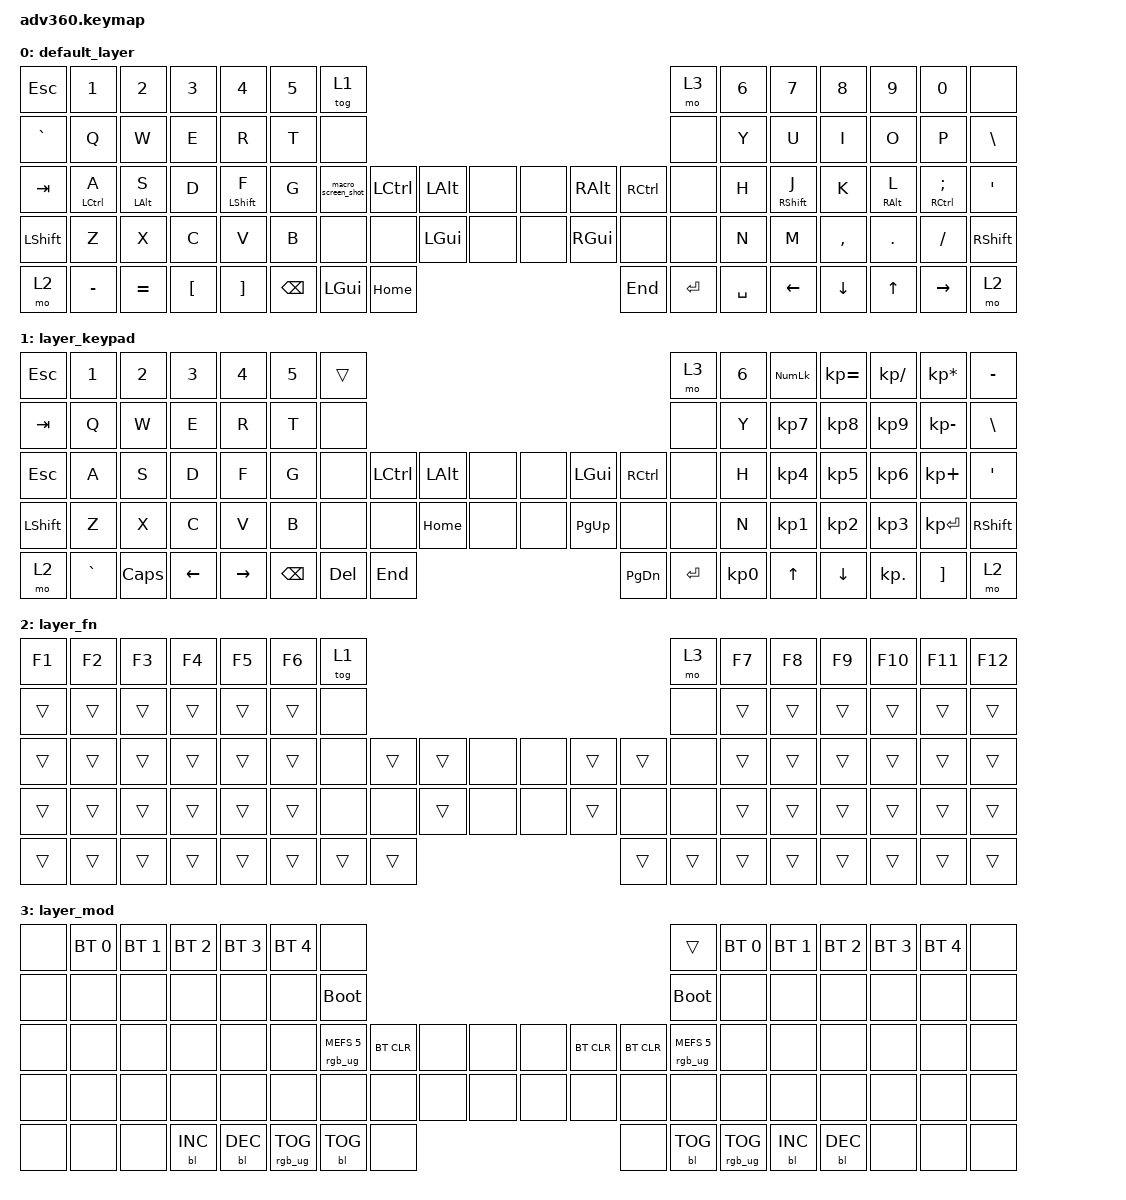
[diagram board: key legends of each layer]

/*
 * Copyright (c) 2020 The ZMK Contributors
 *
 * SPDX-License-Identifier: MIT
 */


/* THIS FILE WAS GENERATED!
 *
 * This file was generated automatically. You may or may not want to
 * edit it directly.
 */

#include <behaviors.dtsi>
#include <dt-bindings/zmk/keys.h>
#include <dt-bindings/zmk/bt.h>
#include <dt-bindings/zmk/rgb.h>
#include <dt-bindings/zmk/backlight.h>

/ {
  behaviors {
    #include "macros.dtsi"

    bhm: homerow_mods {
        compatible = "zmk,behavior-hold-tap";
        label = "HOMEROW_MODS";
        #binding-cells = <2>;
        tapping-term-ms = <150>;
        flavor = "balanced";
        bindings = <&kp>, <&kp>;
    };
    ahm: a_homerow_mods {
        compatible = "zmk,behavior-hold-tap";
        label = "A_HOMEROW_MODS";
        #binding-cells = <2>;
        tapping-term-ms = <200>;
        flavor = "balanced";
        bindings = <&kp>, <&kp>;
    };
  };

    keymap {
        compatible = "zmk,keymap";


        default_layer {
            bindings = <
 &kp ESC     &kp N1          &kp N2       &kp N3       &kp N4          &kp N5     &tog 1                                                                                                                  &mo 3         &kp N6    &kp N7         &kp N8     &kp N9         &kp N0             &none
 &kp GRAVE   &kp Q           &kp W        &kp E        &kp R           &kp T      &none                                                                                                                   &none         &kp Y     &kp U          &kp I      &kp O          &kp P              &kp BSLH
 &kp TAB     &ahm LCTRL A    &ahm LALT S  &kp D        &bhm LSHFT F    &kp G      &macro_screen_shot                  &kp LCTRL   &kp LALT      &none   &none     &kp RALT  &kp RCTRL                     &none         &kp H     &bhm RSHFT J   &kp K      &ahm RALT L    &ahm RCTRL SEMI    &kp SQT
 &kp LSHFT   &kp Z           &kp X        &kp C        &kp V           &kp B                           &none          &none       &kp LGUI      &none   &none     &kp RGUI  &none        &none                          &kp N     &kp M          &kp COMMA  &kp DOT        &kp FSLH           &kp RSHFT
 &mo 2       &kp MINUS       &kp EQUAL    &kp LBKT     &kp RBKT                                        &kp BSPC       &kp LGUI    &kp HOME                        &kp END   &kp ENTER    &kp SPACE                                &kp LEFT       &kp DOWN   &kp UP         &kp RIGHT          &mo 2
            >;
        };

        layer_keypad {
            bindings = <
 &kp ESCAPE     &kp N1     &kp N2    &kp N3     &kp N4  &kp N5       &trans                                                                 &mo 3  &kp N6  &kp KP_NUM  &kp KP_EQUAL  &kp KP_DIVIDE  &kp KP_MULTIPLY  &kp MINUS
 &kp TAB        &kp Q      &kp W     &kp E      &kp R   &kp T        &none                                                                 &none   &kp Y   &kp KP_N7     &kp KP_N8      &kp KP_N9     &kp KP_MINUS   &kp BSLH
 &kp ESC        &kp A      &kp S     &kp D      &kp F   &kp G        &none  &kp LCTRL  &kp LALT   &none   &none   &kp LGUI  &kp RCTRL      &none   &kp H   &kp KP_N4     &kp KP_N5      &kp KP_N6      &kp KP_PLUS    &kp SQT
 &kp LSHFT      &kp Z      &kp X     &kp C      &kp V   &kp B        &none  &none  &kp HOME   &none   &none  &kp PG_UP      &none      &none   &kp N   &kp KP_N1     &kp KP_N2      &kp KP_N3     &kp KP_ENTER  &kp RSHFT
 &mo 2          &kp GRAVE  &kp CAPS  &kp LEFT  &kp RIGHT            &kp BSPC    &kp DEL   &kp END                  &kp PG_DN  &kp ENTER  &kp KP_N0              &kp UP      &kp DOWN     &kp KP_DOT         &kp RBKT      &mo 2
            >;
        };

        layer_fn {
            bindings = <
 &kp F1  &kp F2  &kp F3  &kp F4  &kp F5  &kp F6            &tog 1                                                   &mo 3  &kp F7  &kp F8  &kp F9  &kp F10  &kp F11  &kp F12
 &trans  &trans  &trans  &trans  &trans  &trans             &none                                                   &none  &trans  &trans  &trans   &trans   &trans   &trans
 &trans  &trans  &trans  &trans  &trans  &trans             &none  &trans  &trans   &none   &none  &trans  &trans   &none  &trans  &trans  &trans   &trans   &trans   &trans
 &trans  &trans  &trans  &trans  &trans  &trans             &none   &none  &trans   &none   &none  &trans   &none   &none  &trans  &trans  &trans   &trans   &trans   &trans
 &trans  &trans  &trans  &trans  &trans                    &trans  &trans  &trans                  &trans  &trans  &trans          &trans  &trans   &trans   &trans   &trans
            >;
        };

        layer_mod {
            bindings = <
  &none  &bt BT_SEL 0  &bt BT_SEL 1  &bt BT_SEL 2  &bt BT_SEL 3  &bt BT_SEL 4                             &none                                                                              &trans  &bt BT_SEL 0  &bt BT_SEL 1  &bt BT_SEL 2  &bt BT_SEL 3  &bt BT_SEL 4   &none
  &none         &none         &none         &none         &none         &none                       &bootloader                                                                         &bootloader         &none         &none         &none         &none         &none   &none
  &none         &none         &none         &none         &none         &none            &rgb_ug RGB_MEFS_CMD 5  &bt BT_CLR   &none   &none   &none  &bt BT_CLR  &bt BT_CLR  &rgb_ug RGB_MEFS_CMD 5         &none         &none         &none         &none         &none   &none
  &none         &none         &none         &none         &none         &none                             &none       &none   &none   &none   &none       &none       &none                   &none         &none         &none         &none         &none         &none   &none
  &none         &none         &none    &bl BL_INC    &bl BL_DEC                                 &rgb_ug RGB_TOG  &bl BL_TOG   &none                       &none  &bl BL_TOG         &rgb_ug RGB_TOG                  &bl BL_INC    &bl BL_DEC         &none         &none   &none
            >;
        };

    };
};
